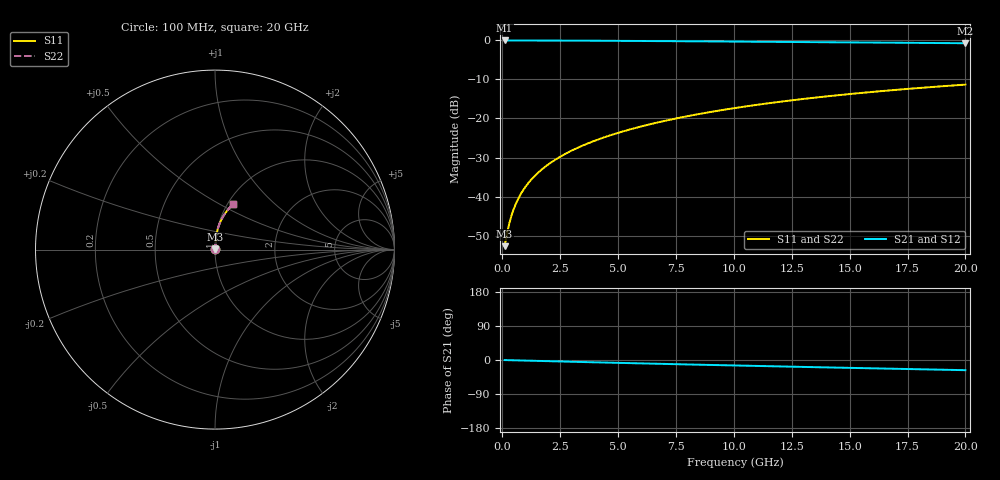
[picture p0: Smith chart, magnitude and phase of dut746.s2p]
! Touchstone file exported from HFSS 2024.1.0
!  File:  C:/UserFiles/LocalFiles/RDL_TSV_Batchsim/temp_RDL_bottom_746_1779859545.aedt
!  Generated:  01:28:11 PM May 27, 2026
!  Design:  RDL_bottom
!  Project:  temp_RDL_bottom_746_1779859545
!  Setup:  Setup1
!  Solution:  Sweep
! Variables:
!  dtsv = 10.80580581um
!  hbump = 3um
!  htsv = 50.21um
!  ldown = 380.02um
!  lrdl = 100um
!  p = 40
!  p1 = 42.73um
!  rhole = 1um
!  t = 450um
!  tdown = 4.31um
!  trdl = 3.915915916um
!  wdown = 18.46um
!  wrdl = 20um
# GHz S MA R 50.000000
! Terminal data exported
! Port[1] = RDL1_T1
! Port[2] = RDL1_T2
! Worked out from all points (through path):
!   200 points, 100 MHz to 20 GHz, reference 50 ohm
!   highest |S21| = -0.02 dB at 100 MHz (marker M1); lowest = -0.7 dB at 20 GHz (marker M2)
!   group delay of S21, straight-line fit = 3.7 ps
!   lowest |S11| = -52.7 dB at 100 MHz (marker M3), VSWR 1.00, Z = 50.2 + j0.14 ohm
!   |S11| at or under -10 dB: start of sweep to end of sweep
!   |S22| runs from -52.7 to -11.3 dB; largest |S21 - S12| = 2.5e-15
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0.1  0.002314 37.1  0.9981 -0.2  0.9981 -0.2  0.002314 37.1
! Gamma 0 0 0 0
! Port Impedance 50 0 50 0
0.2  0.003318 56.5  0.9981 -0.3  0.9981 -0.3  0.003319 56.5
0.3  0.004498 65.9  0.9979 -0.5  0.9979 -0.5  0.004499 65.9
0.4  0.005737 71.1  0.9978 -0.6  0.9978 -0.6  0.005738 71.1
0.5  0.006996 74.3  0.9977 -0.8  0.9977 -0.8  0.006997 74.3
0.6  0.008262 76.4  0.9976 -0.9  0.9976 -0.9  0.008263 76.4
0.8  0.01079 79.0  0.9975 -1.3  0.9975 -1.3  0.0108 79.0
1.1  0.01458 81.2  0.9971 -1.7  0.9971 -1.7  0.01458 81.2
1.5  0.01963 82.9  0.9966 -2.3  0.9966 -2.3  0.01963 82.9
1.8  0.02342 83.7  0.9961 -2.8  0.9961 -2.8  0.02342 83.7
2.1  0.02724 84.2  0.9955 -3.3  0.9955 -3.3  0.02724 84.2
2.7  0.03494 84.9  0.9942 -4.2  0.9942 -4.2  0.03494 84.9
3.5  0.04536 85.3  0.9919 -5.4  0.9919 -5.4  0.04536 85.3
4.2  0.05463 85.4  0.9897 -6.4  0.9897 -6.4  0.05463 85.4
5  0.06539 85.2  0.9868 -7.6  0.9868 -7.6  0.06539 85.2
5.9  0.07769 84.7  0.9834 -8.9  0.9834 -8.9  0.07769 84.7
6.8  0.09018 84.1  0.9797 -10.1  0.9797 -10.1  0.09018 84.1
8.4  0.1127 82.7  0.9729 -12.3  0.9729 -12.3  0.1127 82.7
10.1  0.1368 80.8  0.9654 -14.6  0.9654 -14.6  0.1368 80.8
13.4  0.1835 76.8  0.9506 -18.8  0.9506 -18.8  0.1834 76.8
16.7  0.2286 72.5  0.9353 -22.9  0.9353 -22.9  0.2286 72.5
20  0.2714 68.3  0.9196 -26.9  0.9196 -26.9  0.2714 68.3
